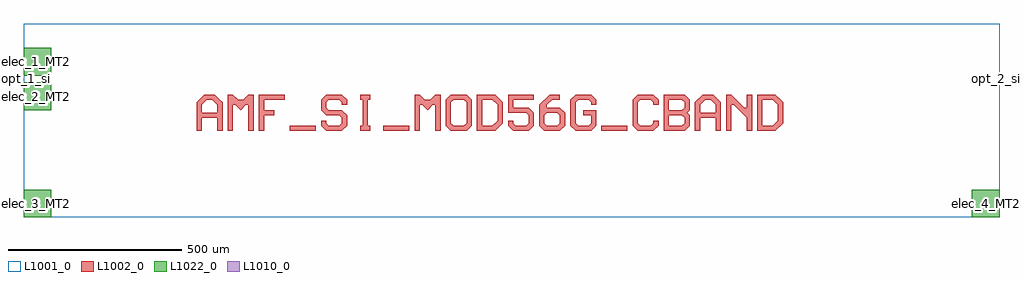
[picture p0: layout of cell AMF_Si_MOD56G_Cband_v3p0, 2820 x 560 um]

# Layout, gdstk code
import gdstk
lib = gdstk.Library(unit=1e-6, precision=1e-09)
def R(c, l, rs):  # rectangles x0, y0, x1, y1
    for r in rs: c.add(gdstk.rectangle(r[:2], r[2:], *l))
def P(c, l, *ps):  # polygons
    for p in ps: c.add(gdstk.Polygon(p, *l))
L1001_0 = (1001, 0)
L1002_0 = (1002, 0)
L1010_0 = (1010, 0)
L1022_0 = (1022, 0)

amf_si_mod56g_cband_v3p0 = lib.new_cell('AMF_Si_MOD56G_Cband_v3p0')
R(amf_si_mod56g_cband_v3p0, L1001_0, [(0,-400,2820,160)])
R(amf_si_mod56g_cband_v3p0, L1002_0, [(770,-150,845,-135), (1040,-150,1115,-135), (1670,-150,1745,-135)])
P(amf_si_mod56g_cband_v3p0, L1002_0, [(500,-150),(500,-67.5),(522.5,-45),(552.5,-45),(567.5,-60),(530,-60),(515,-75),(515,-97.5),(560,-97.5),(560,-75),(545,-60),(567.5,-60),(575,-67.5),(575,-150),(560,-150),(560,-112.5),(515,-112.5),(515,-150)],
  [(590,-150),(590,-45),(605,-45),(620,-60),(635,-60),(650,-45),(665,-45),(665,-150),(650,-150),(650,-75),(642.5,-75),(627.5,-90),(612.5,-75),(605,-75),(605,-150)],
  [(680,-150),(680,-45),(755,-45),(755,-60),(695,-60),(695,-90),(725,-90),(725,-105),(695,-105),(695,-150)],
  [(875,-150),(860,-135),(860,-120),(875,-120),(875,-127.5),(882.5,-135),(912.5,-135),(920,-127.5),(920,-112.5),(912.5,-105),(875,-105),(860,-90),(860,-60),(875,-45),(920,-45),(935,-60),(935,-75),(920,-75),(920,-67.5),(912.5,-60),(882.5,-60),(875,-67.5),(875,-82.5),(882.5,-90),(920,-90),(935,-105),(935,-135),(920,-150)],
  [(972.5,-150),(972.5,-135),(980,-135),(980,-60),(972.5,-60),(972.5,-45),(1002.5,-45),(1002.5,-60),(995,-60),(995,-135),(1002.5,-135),(1002.5,-150)],
  [(1130,-150),(1130,-45),(1145,-45),(1160,-60),(1175,-60),(1190,-45),(1205,-45),(1205,-150),(1190,-150),(1190,-75),(1182.5,-75),(1167.5,-90),(1152.5,-75),(1145,-75),(1145,-150)],
  [(1235,-150),(1220,-135),(1220,-60),(1235,-45),(1280,-45),(1295,-60),(1295,-97.5),(1280,-97.5),(1280,-67.5),(1272.5,-60),(1242.5,-60),(1235,-67.5),(1235,-127.5),(1242.5,-135),(1272.5,-135),(1280,-127.5),(1280,-97.5),(1295,-97.5),(1295,-135),(1280,-150)],
  [(1310,-150),(1310,-45),(1362.5,-45),(1377.5,-60),(1325,-60),(1325,-135),(1355,-135),(1370,-120),(1370,-75),(1355,-60),(1377.5,-60),(1385,-67.5),(1385,-127.5),(1362.5,-150)],
  [(1415,-150),(1400,-135),(1400,-120),(1415,-120),(1415,-127.5),(1422.5,-135),(1452.5,-135),(1460,-127.5),(1460,-105),(1452.5,-97.5),(1400,-97.5),(1400,-45),(1475,-45),(1475,-60),(1415,-60),(1415,-82.5),(1460,-82.5),(1475,-97.5),(1475,-135),(1460,-150)],
  [(1505,-150),(1490,-135),(1490,-75),(1520,-45),(1550,-45),(1550,-60),(1527.5,-60),(1512.5,-75),(1512.5,-82.5),(1550,-82.5),(1565,-97.5),(1512.5,-97.5),(1505,-105),(1505,-127.5),(1512.5,-135),(1542.5,-135),(1550,-127.5),(1550,-105),(1542.5,-97.5),(1565,-97.5),(1565,-135),(1550,-150)],
  [(1595,-150),(1580,-135),(1580,-60),(1595,-45),(1640,-45),(1655,-60),(1655,-75),(1640,-75),(1640,-67.5),(1632.5,-60),(1602.5,-60),(1595,-67.5),(1595,-127.5),(1602.5,-135),(1632.5,-135),(1640,-127.5),(1640,-105),(1617.5,-105),(1617.5,-90),(1655,-90),(1655,-135),(1640,-150)],
  [(1775,-150),(1760,-135),(1760,-60),(1775,-45),(1820,-45),(1835,-60),(1835,-75),(1820,-75),(1820,-67.5),(1812.5,-60),(1782.5,-60),(1775,-67.5),(1775,-127.5),(1782.5,-135),(1812.5,-135),(1820,-127.5),(1820,-120),(1835,-120),(1835,-135),(1820,-150)],
  [(1850,-150),(1850,-45),(1910,-45),(1925,-60),(1865,-60),(1865,-90),(1902.5,-90),(1910,-82.5),(1910,-67.5),(1902.5,-60),(1925,-60),(1925,-90),(1917.5,-97.5),(1925,-105),(1865,-105),(1865,-135),(1902.5,-135),(1910,-127.5),(1910,-112.5),(1902.5,-105),(1925,-105),(1925,-135),(1910,-150)],
  [(1940,-150),(1940,-67.5),(1962.5,-45),(1992.5,-45),(2007.5,-60),(1970,-60),(1955,-75),(1955,-97.5),(2000,-97.5),(2000,-75),(1985,-60),(2007.5,-60),(2015,-67.5),(2015,-150),(2000,-150),(2000,-112.5),(1955,-112.5),(1955,-150)],
  [(2030,-150),(2030,-45),(2045,-45),(2082.5,-82.5),(2090,-82.5),(2090,-45),(2105,-45),(2105,-150),(2090,-150),(2090,-112.5),(2052.5,-75),(2045,-75),(2045,-150)],
  [(2120,-150),(2120,-45),(2172.5,-45),(2187.5,-60),(2135,-60),(2135,-135),(2165,-135),(2180,-120),(2180,-75),(2165,-60),(2187.5,-60),(2195,-67.5),(2195,-127.5),(2172.5,-150)])
R(amf_si_mod56g_cband_v3p0, L1010_0, [(0,-0.25,0.5,0.25), (2819.5,-0.25,2820,0.25)])
R(amf_si_mod56g_cband_v3p0, L1022_0, [(0,-400,80,-320), (2740,-400,2820,-320), (0,-90,80,-10), (0,10,80,90)])
amf_si_mod56g_cband_v3p0.add(gdstk.Label('opt_1_si', (0,0), layer=1010, texttype=0))
amf_si_mod56g_cband_v3p0.add(gdstk.Label('opt_2_si', (2820,0), layer=1010, texttype=0))
amf_si_mod56g_cband_v3p0.add(gdstk.Label('elec_1_MT2', (0,50), layer=1022, texttype=0))
amf_si_mod56g_cband_v3p0.add(gdstk.Label('elec_2_MT2', (0,-50), layer=1022, texttype=0))
amf_si_mod56g_cband_v3p0.add(gdstk.Label('elec_4_MT2', (2820,-360), layer=1022, texttype=0))
amf_si_mod56g_cband_v3p0.add(gdstk.Label('elec_3_MT2', (0,-360), layer=1022, texttype=0))

lib.write_gds('AMF_Si_MOD56G_Cband_v3p0.gds')
